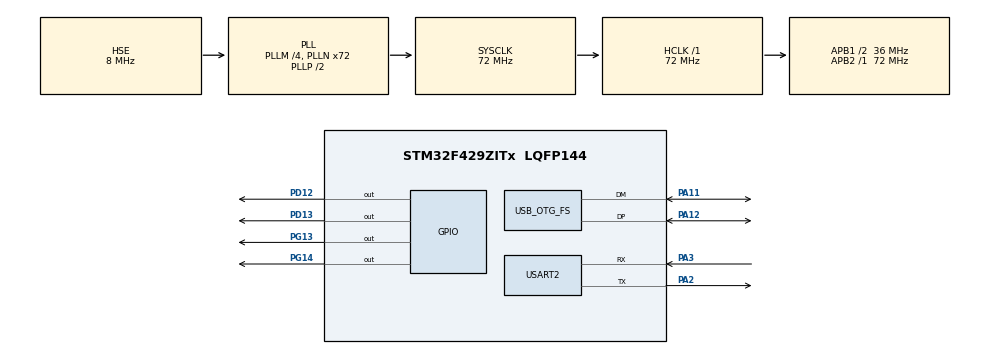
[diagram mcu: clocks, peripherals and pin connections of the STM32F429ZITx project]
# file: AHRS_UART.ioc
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Dma.Request0=USART2_RX
Dma.Request1=USART2_TX
Dma.USART2_RX.0.Direction=DMA_PERIPH_TO_MEMORY
Dma.USART2_RX.0.FIFOMode=DMA_FIFOMODE_DISABLE
Dma.USART2_RX.0.Instance=DMA1_Stream5
Dma.USART2_RX.0.MemDataAlignment=DMA_MDATAALIGN_BYTE
Dma.USART2_RX.0.MemInc=DMA_MINC_ENABLE
Dma.USART2_RX.0.Mode=DMA_NORMAL
Dma.USART2_RX.0.PeriphDataAlignment=DMA_PDATAALIGN_BYTE
Dma.USART2_RX.0.PeriphInc=DMA_PINC_DISABLE
Dma.USART2_RX.0.Priority=DMA_PRIORITY_LOW
Dma.USART2_TX.1.Direction=DMA_MEMORY_TO_PERIPH
Dma.USART2_TX.1.FIFOMode=DMA_FIFOMODE_DISABLE
Dma.USART2_TX.1.Instance=DMA1_Stream6
Dma.USART2_TX.1.MemDataAlignment=DMA_MDATAALIGN_BYTE
Dma.USART2_TX.1.MemInc=DMA_MINC_ENABLE
Dma.USART2_TX.1.Mode=DMA_NORMAL
Dma.USART2_TX.1.PeriphDataAlignment=DMA_PDATAALIGN_BYTE
Dma.USART2_TX.1.PeriphInc=DMA_PINC_DISABLE
Dma.USART2_TX.1.Priority=DMA_PRIORITY_LOW
Mcu.Family=STM32F4
Mcu.Name=STM32F429ZITx
Mcu.Package=LQFP144
NVIC.DMA1_Stream5_IRQn=true\:0\:0\:false\:false\:true\:false\:true
NVIC.DMA1_Stream6_IRQn=true\:0\:0\:false\:false\:true\:false\:true
NVIC.OTG_FS_IRQn=true\:0\:0\:false\:false\:true\:false\:true
NVIC.PriorityGroup=NVIC_PRIORITYGROUP_4
NVIC.USART2_IRQn=true\:0\:0\:false\:false\:true\:true\:true
PA11.Mode=Device_Only
PA11.Signal=USB_OTG_FS_DM
PA12.Mode=Device_Only
PA12.Signal=USB_OTG_FS_DP
PA2.Mode=Asynchronous
PA2.Signal=USART2_TX
PA3.Mode=Asynchronous
PA3.Signal=USART2_RX
PD12.Signal=GPIO_Output
PD13.Signal=GPIO_Output
PG13.Signal=GPIO_Output
PG14.Signal=GPIO_Output
PH0/OSC_IN.Mode=HSE-External-Oscillator
PH0/OSC_IN.Signal=RCC_OSC_IN
PH1/OSC_OUT.Mode=HSE-External-Oscillator
PH1/OSC_OUT.Signal=RCC_OSC_OUT
ProjectManager.HeapSize=0x200
ProjectManager.StackSize=0x400
ProjectManager.TargetToolchain=STM32CubeIDE
RCC.48MHZClocksFreq_Value=48000000
RCC.AHBFreq_Value=72000000
RCC.APB1CLKDivider=RCC_HCLK_DIV2
RCC.APB1Freq_Value=36000000
RCC.APB1TimFreq_Value=72000000
RCC.APB2Freq_Value=72000000
RCC.APB2TimFreq_Value=72000000
RCC.CortexFreq_Value=72000000
RCC.HCLKFreq_Value=72000000
RCC.HSE_VALUE=8000000
RCC.HSI_VALUE=16000000
RCC.LSE_VALUE=32768
RCC.PLLM=4
RCC.PLLN=72
RCC.PLLQ=3
RCC.PLLSAIN=50
RCC.SYSCLKFreq_VALUE=72000000
RCC.SYSCLKSource=RCC_SYSCLKSOURCE_PLLCLK
RCC.VCOOutputFreq_Value=144000000
USART2.VirtualMode=VM_ASYNC
USB_DEVICE.CLASS_NAME_FS=CDC
USB_DEVICE.VirtualMode-CDC_FS=Cdc
USB_DEVICE.VirtualModeFS=Cdc_FS
USB_OTG_FS.VirtualMode=Device_Only
VP_USB_DEVICE_VS_USB_DEVICE_CDC_FS.Mode=CDC_FS
board=STM32F429I-DISC1

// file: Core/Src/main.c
/* USER CODE BEGIN Header */
/**
  ******************************************************************************
  * @file           : main.c
  * @brief          : Main program body
  ******************************************************************************
  * @attention
  *
  * <h2><center>&copy; Copyright (c) 2020 STMicroelectronics.
  * All rights reserved.</center></h2>
  *
  * This software component is licensed by ST under BSD 3-Clause license,
  * the "License"; You may not use this file except in compliance with the
  * License. You may obtain a copy of the License at:
  *                        opensource.org/licenses/BSD-3-Clause
  *
  ******************************************************************************
  */
/* USER CODE END Header */

#include "main.h"
#include "usb_device.h"

/* USER CODE BEGIN Includes */
#include <string.h>
#include <stdio.h>

/* USER CODE END Includes */

/* USER CODE BEGIN PTD */
#ifdef __GNUC__
  /* With GCC, small printf (option LD Linker->Libraries->Small printf
     set to 'Yes') calls __io_putchar() */
  #define PUTCHAR_PROTOTYPE int __io_putchar(int ch)
#else
  #define PUTCHAR_PROTOTYPE int fputc(int ch, FILE *f)
#endif /* __GNUC__ */
/* USER CODE END PTD */

UART_HandleTypeDef huart2;
DMA_HandleTypeDef hdma_usart2_rx;
DMA_HandleTypeDef hdma_usart2_tx;

void SystemClock_Config(void);
static void MX_GPIO_Init(void);
static void MX_DMA_Init(void);
static void MX_USART2_UART_Init(void);
/* USER CODE BEGIN PFP */
char rxData[90];
char data;
char txData[30] = "Hello World\r\n";

/* USER CODE END PFP */

int main(void)
{

  /* MCU Configuration--------------------------------------------------------*/

  /* Reset of all peripherals, Initializes the Flash interface and the Systick. */
  HAL_Init();

  /* Configure the system clock */
  SystemClock_Config();

  /* Initialize all configured peripherals */
  MX_GPIO_Init();
  MX_DMA_Init();
  MX_USART2_UART_Init();
  MX_USB_DEVICE_Init();

  /* Infinite loop */
  while (1)
  {

  }
}

void SystemClock_Config(void)
{
  RCC_OscInitTypeDef RCC_OscInitStruct = {0};
  RCC_ClkInitTypeDef RCC_ClkInitStruct = {0};

  /** Configure the main internal regulator output voltage
  */
  __HAL_RCC_PWR_CLK_ENABLE();
  __HAL_PWR_VOLTAGESCALING_CONFIG(PWR_REGULATOR_VOLTAGE_SCALE3);
  /** Initializes the CPU, AHB and APB busses clocks
  */
  RCC_OscInitStruct.OscillatorType = RCC_OSCILLATORTYPE_HSE;
  RCC_OscInitStruct.HSEState = RCC_HSE_ON;
  RCC_OscInitStruct.PLL.PLLState = RCC_PLL_ON;
  RCC_OscInitStruct.PLL.PLLSource = RCC_PLLSOURCE_HSE;
  RCC_OscInitStruct.PLL.PLLM = 4;
  RCC_OscInitStruct.PLL.PLLN = 72;
  RCC_OscInitStruct.PLL.PLLP = RCC_PLLP_DIV2;
  RCC_OscInitStruct.PLL.PLLQ = 3;
  if (HAL_RCC_OscConfig(&RCC_OscInitStruct) != HAL_OK)
  {
    Error_Handler();
  }
  /** Initializes the CPU, AHB and APB busses clocks
  */
  RCC_ClkInitStruct.ClockType = RCC_CLOCKTYPE_HCLK|RCC_CLOCKTYPE_SYSCLK
                              |RCC_CLOCKTYPE_PCLK1|RCC_CLOCKTYPE_PCLK2;
  RCC_ClkInitStruct.SYSCLKSource = RCC_SYSCLKSOURCE_PLLCLK;
  RCC_ClkInitStruct.AHBCLKDivider = RCC_SYSCLK_DIV1;
  RCC_ClkInitStruct.APB1CLKDivider = RCC_HCLK_DIV2;
  RCC_ClkInitStruct.APB2CLKDivider = RCC_HCLK_DIV1;

  if (HAL_RCC_ClockConfig(&RCC_ClkInitStruct, FLASH_LATENCY_2) != HAL_OK)
  {
    Error_Handler();
  }
}

static void MX_USART2_UART_Init(void)
{

  huart2.Instance = USART2;
  huart2.Init.BaudRate = 115200;
  huart2.Init.WordLength = UART_WORDLENGTH_8B;
  huart2.Init.StopBits = UART_STOPBITS_1;
  huart2.Init.Parity = UART_PARITY_NONE;
  huart2.Init.Mode = UART_MODE_TX_RX;
  huart2.Init.HwFlowCtl = UART_HWCONTROL_NONE;
  huart2.Init.OverSampling = UART_OVERSAMPLING_16;
  if (HAL_UART_Init(&huart2) != HAL_OK)
  {
    Error_Handler();
  }

}

static void MX_DMA_Init(void)
{

  /* DMA controller clock enable */
  __HAL_RCC_DMA1_CLK_ENABLE();

  /* DMA interrupt init */
  /* DMA1_Stream5_IRQn interrupt configuration */
  HAL_NVIC_SetPriority(DMA1_Stream5_IRQn, 0, 0);
  HAL_NVIC_EnableIRQ(DMA1_Stream5_IRQn);
  /* DMA1_Stream6_IRQn interrupt configuration */
  HAL_NVIC_SetPriority(DMA1_Stream6_IRQn, 0, 0);
  HAL_NVIC_EnableIRQ(DMA1_Stream6_IRQn);

}

static void MX_GPIO_Init(void)
{
  GPIO_InitTypeDef GPIO_InitStruct = {0};

  /* GPIO Ports Clock Enable */
  __HAL_RCC_GPIOH_CLK_ENABLE();
  __HAL_RCC_GPIOA_CLK_ENABLE();
  __HAL_RCC_GPIOD_CLK_ENABLE();
  __HAL_RCC_GPIOG_CLK_ENABLE();

  /*Configure GPIO pin Output Level */
  HAL_GPIO_WritePin(GPIOD, GPIO_PIN_12|GPIO_PIN_13, GPIO_PIN_RESET);

  /*Configure GPIO pin Output Level */
  HAL_GPIO_WritePin(GPIOG, GPIO_PIN_13|GPIO_PIN_14, GPIO_PIN_RESET);

  /*Configure GPIO pins : PD12 PD13 */
  GPIO_InitStruct.Pin = GPIO_PIN_12|GPIO_PIN_13;
  GPIO_InitStruct.Mode = GPIO_MODE_OUTPUT_PP;
  GPIO_InitStruct.Pull = GPIO_NOPULL;
  GPIO_InitStruct.Speed = GPIO_SPEED_FREQ_LOW;
  HAL_GPIO_Init(GPIOD, &GPIO_InitStruct);

  /*Configure GPIO pins : PG13 PG14 */
  GPIO_InitStruct.Pin = GPIO_PIN_13|GPIO_PIN_14;
  GPIO_InitStruct.Mode = GPIO_MODE_OUTPUT_PP;
  GPIO_InitStruct.Pull = GPIO_NOPULL;
  GPIO_InitStruct.Speed = GPIO_SPEED_FREQ_LOW;
  HAL_GPIO_Init(GPIOG, &GPIO_InitStruct);

}

/* USER CODE BEGIN 4 */
PUTCHAR_PROTOTYPE
{
  /* Place your implementation of fputc here */
  /* e.g. write a character to the EVAL_COM1 and Loop until the end of transmission */
  HAL_UART_Transmit(&huart2, (uint8_t *)&ch, 1, 0xFFFF);

  return ch;
}
void HAL_UART_RxCpltCallback(UART_HandleTypeDef *huart)
{
  /* Prevent unused argument(s) compilation warning */
  UNUSED(huart);
  /* NOTE: This function should not be modified, when the callback is needed,
           the HAL_UART_RxCpltCallback could be implemented in the user file
   */
  HAL_UART_Transmit(&huart2, (uint8_t *)rxData, strlen(rxData), 10);
}

/* USER CODE END 4 */

void Error_Handler(void)
{
}

/************************ (C) COPYRIGHT STMicroelectronics *****END OF FILE****/
